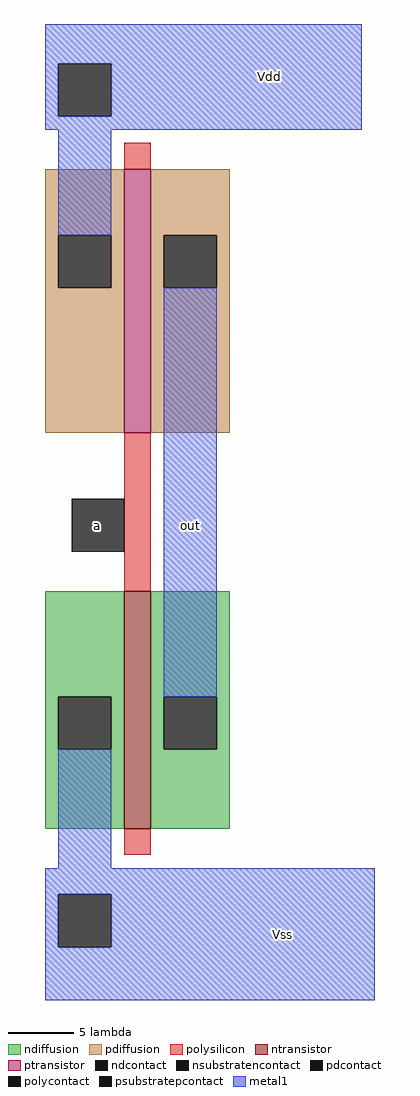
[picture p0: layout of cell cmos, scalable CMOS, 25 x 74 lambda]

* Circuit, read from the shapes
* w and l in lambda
.subckt cmos Vdd Vss a out
M1 out a Vss Vss nfet w=18 l=2
M2 out a Vdd Vdd pfet w=20 l=2
.ends

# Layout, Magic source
magic
tech scmos
<< polysilicon >>
rect 6 -3 8 -1
rect 6 -35 8 -23
rect 6 -55 8 -53
<< ndiffusion >>
rect 0 -43 6 -35
rect 0 -47 1 -43
rect 5 -47 6 -43
rect 0 -53 6 -47
rect 8 -43 14 -35
rect 8 -47 9 -43
rect 13 -47 14 -43
rect 8 -53 14 -47
<< pdiffusion >>
rect 0 -8 6 -3
rect 0 -12 1 -8
rect 5 -12 6 -8
rect 0 -23 6 -12
rect 8 -8 14 -3
rect 8 -12 9 -8
rect 13 -12 14 -8
rect 8 -23 14 -12
<< metal1 >>
rect 0 5 24 8
rect 0 1 1 5
rect 5 1 24 5
rect 0 0 24 1
rect 1 -8 5 0
rect 9 -43 13 -12
rect 1 -56 5 -47
rect 0 -58 25 -56
rect 0 -62 1 -58
rect 5 -62 25 -58
rect 0 -66 25 -62
<< ntransistor >>
rect 6 -53 8 -35
<< ptransistor >>
rect 6 -23 8 -3
<< polycontact >>
rect 2 -32 6 -28
<< ndcontact >>
rect 1 -47 5 -43
rect 9 -47 13 -43
<< pdcontact >>
rect 1 -12 5 -8
rect 9 -12 13 -8
<< psubstratepcontact >>
rect 1 -62 5 -58
<< nsubstratencontact >>
rect 1 1 5 5
<< labels >>
rlabel metal1 11 -30 11 -30 1 out
rlabel polycontact 4 -30 4 -30 3 a
rlabel metal1 17 4 17 4 5 Vdd
rlabel metal1 18 -61 18 -61 1 Vss
<< end >>
